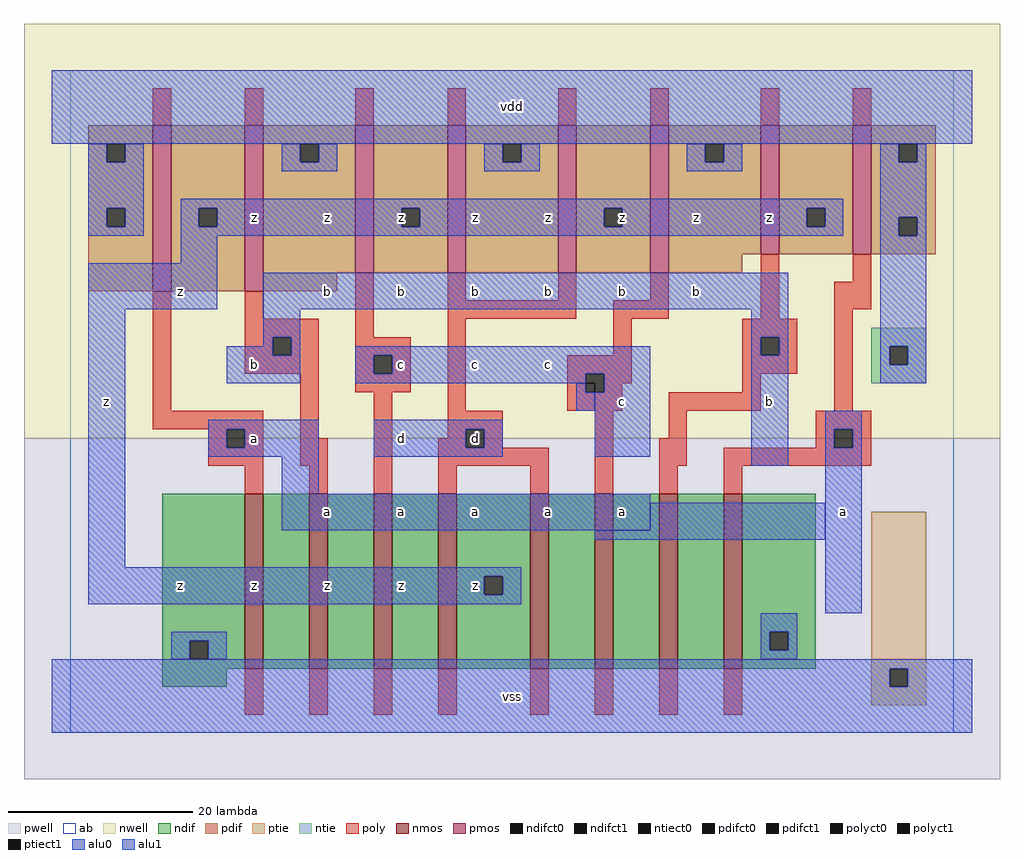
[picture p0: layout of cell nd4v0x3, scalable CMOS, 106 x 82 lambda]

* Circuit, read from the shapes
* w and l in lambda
.subckt nd4v0x3 a b c d vdd vss z
M1 n1 a vss vss nfet w=19 l=2
M2 n2 b n1 vss nfet w=19 l=2
M3 n3 c n2 vss nfet w=19 l=2
M4 z d n3 vss nfet w=19 l=2
M5 n4 d z vss nfet w=19 l=2
M6 n5 c n4 vss nfet w=19 l=2
M7 n6 b n5 vss nfet w=19 l=2
M8 vss a n6 vss nfet w=19 l=2
M9 z a vdd vdd pfet w=18 l=2
M10 vdd b z vdd pfet w=18 l=2
M11 z c vdd vdd pfet w=16 l=2 m=2
M12 vdd d z vdd pfet w=16 l=2 m=2
M13 z b vdd vdd pfet w=14 l=2
M14 vdd a z vdd pfet w=14 l=2
.ends

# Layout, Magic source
magic
tech scmos
<< ab >>
rect 0 0 96 72
<< nwell >>
rect -5 32 101 77
<< pwell >>
rect -5 -5 101 32
<< poly >>
rect 9 66 11 70
rect 19 66 21 70
rect 31 66 33 70
rect 41 66 43 70
rect 53 66 55 70
rect 63 66 65 70
rect 75 66 77 70
rect 85 66 87 70
rect 9 35 11 48
rect 19 45 21 48
rect 19 43 27 45
rect 19 41 22 43
rect 24 41 27 43
rect 19 39 27 41
rect 9 33 21 35
rect 15 31 17 33
rect 19 31 21 33
rect 15 29 21 31
rect 25 32 27 39
rect 31 43 33 50
rect 41 47 43 50
rect 53 47 55 50
rect 63 47 65 50
rect 41 45 55 47
rect 59 45 65 47
rect 75 45 77 52
rect 85 49 87 52
rect 83 46 87 49
rect 31 41 37 43
rect 31 39 33 41
rect 35 39 37 41
rect 31 37 37 39
rect 25 29 28 32
rect 19 26 21 29
rect 26 26 28 29
rect 33 26 35 37
rect 41 35 43 45
rect 59 41 61 45
rect 54 39 61 41
rect 54 37 56 39
rect 58 38 61 39
rect 73 43 79 45
rect 73 41 75 43
rect 77 41 79 43
rect 73 39 79 41
rect 58 37 60 38
rect 73 37 75 39
rect 54 35 60 37
rect 65 35 75 37
rect 83 35 85 46
rect 41 33 47 35
rect 41 32 43 33
rect 40 31 43 32
rect 45 31 47 33
rect 40 29 52 31
rect 40 26 42 29
rect 50 26 52 29
rect 57 26 59 35
rect 65 32 67 35
rect 64 29 67 32
rect 81 33 87 35
rect 81 31 83 33
rect 85 31 87 33
rect 71 29 87 31
rect 64 26 66 29
rect 71 26 73 29
rect 19 2 21 7
rect 26 2 28 7
rect 33 2 35 7
rect 40 2 42 7
rect 50 2 52 7
rect 57 2 59 7
rect 64 2 66 7
rect 71 2 73 7
<< ndif >>
rect 10 10 19 26
rect 10 8 13 10
rect 15 8 19 10
rect 10 7 19 8
rect 21 7 26 26
rect 28 7 33 26
rect 35 7 40 26
rect 42 17 50 26
rect 42 15 45 17
rect 47 15 50 17
rect 42 7 50 15
rect 52 7 57 26
rect 59 7 64 26
rect 66 7 71 26
rect 73 11 81 26
rect 73 9 76 11
rect 78 9 81 11
rect 73 7 81 9
rect 10 5 17 7
<< pdif >>
rect 2 64 9 66
rect 2 62 4 64
rect 6 62 9 64
rect 2 57 9 62
rect 2 55 4 57
rect 6 55 9 57
rect 2 48 9 55
rect 11 57 19 66
rect 11 55 14 57
rect 16 55 19 57
rect 11 48 19 55
rect 21 64 31 66
rect 21 62 25 64
rect 27 62 31 64
rect 21 50 31 62
rect 33 57 41 66
rect 33 55 36 57
rect 38 55 41 57
rect 33 50 41 55
rect 43 64 53 66
rect 43 62 47 64
rect 49 62 53 64
rect 43 50 53 62
rect 55 57 63 66
rect 55 55 58 57
rect 60 55 63 57
rect 55 50 63 55
rect 65 64 75 66
rect 65 62 69 64
rect 71 62 75 64
rect 65 52 75 62
rect 77 57 85 66
rect 77 55 80 57
rect 82 55 85 57
rect 77 52 85 55
rect 87 64 94 66
rect 87 62 90 64
rect 92 62 94 64
rect 87 56 94 62
rect 87 54 90 56
rect 92 54 94 56
rect 87 52 94 54
rect 65 50 73 52
rect 21 48 29 50
<< alu1 >>
rect -2 64 98 72
rect 12 57 84 58
rect 12 55 14 57
rect 16 55 36 57
rect 38 55 58 57
rect 60 55 80 57
rect 82 55 84 57
rect 12 54 84 55
rect 12 51 16 54
rect 2 46 16 51
rect 21 46 78 50
rect 2 18 6 46
rect 21 43 25 46
rect 21 42 22 43
rect 17 41 22 42
rect 24 41 25 43
rect 74 43 78 46
rect 17 38 25 41
rect 31 41 63 42
rect 31 39 33 41
rect 35 39 63 41
rect 31 38 56 39
rect 58 37 63 39
rect 15 33 27 34
rect 15 31 17 33
rect 19 31 27 33
rect 15 30 27 31
rect 33 33 47 34
rect 33 31 43 33
rect 45 31 47 33
rect 33 30 47 31
rect 57 30 63 37
rect 74 41 75 43
rect 77 41 78 43
rect 23 26 27 30
rect 74 29 78 41
rect 82 33 86 35
rect 82 31 83 33
rect 85 31 86 33
rect 23 22 63 26
rect 2 17 49 18
rect 2 15 45 17
rect 47 15 49 17
rect 2 14 49 15
rect 82 13 86 31
rect -2 7 98 8
rect -2 5 89 7
rect 91 5 98 7
rect -2 0 98 5
<< ptie >>
rect 87 7 93 24
rect 87 5 89 7
rect 91 5 93 7
rect 87 3 93 5
<< ntie >>
rect 87 42 93 44
rect 87 40 89 42
rect 91 40 93 42
rect 87 38 93 40
<< nmos >>
rect 19 7 21 26
rect 26 7 28 26
rect 33 7 35 26
rect 40 7 42 26
rect 50 7 52 26
rect 57 7 59 26
rect 64 7 66 26
rect 71 7 73 26
<< pmos >>
rect 9 48 11 66
rect 19 48 21 66
rect 31 50 33 66
rect 41 50 43 66
rect 53 50 55 66
rect 63 50 65 66
rect 75 52 77 66
rect 85 52 87 66
<< polyct0 >>
rect 56 37 57 38
<< polyct1 >>
rect 22 41 24 43
rect 17 31 19 33
rect 33 39 35 41
rect 56 38 58 39
rect 75 41 77 43
rect 57 37 58 38
rect 43 31 45 33
rect 83 31 85 33
<< ndifct0 >>
rect 13 8 15 10
rect 76 9 78 11
<< ndifct1 >>
rect 45 15 47 17
<< ntiect0 >>
rect 89 40 91 42
<< ptiect1 >>
rect 89 5 91 7
<< pdifct0 >>
rect 4 62 6 64
rect 4 55 6 57
rect 25 62 27 64
rect 47 62 49 64
rect 69 62 71 64
rect 90 62 92 64
rect 90 54 92 56
<< pdifct1 >>
rect 14 55 16 57
rect 36 55 38 57
rect 58 55 60 57
rect 80 55 82 57
<< alu0 >>
rect 2 62 4 64
rect 6 62 8 64
rect 2 57 8 62
rect 23 62 25 64
rect 27 62 29 64
rect 23 61 29 62
rect 45 62 47 64
rect 49 62 51 64
rect 45 61 51 62
rect 67 62 69 64
rect 71 62 73 64
rect 67 61 73 62
rect 88 62 90 64
rect 92 62 93 64
rect 2 55 4 57
rect 6 55 8 57
rect 2 54 8 55
rect 88 56 93 62
rect 88 54 90 56
rect 92 54 93 56
rect 55 37 56 38
rect 55 35 57 37
rect 88 42 93 54
rect 88 40 89 42
rect 91 40 93 42
rect 88 38 93 40
rect 63 22 82 25
rect 57 21 82 22
rect 75 11 79 13
rect 11 10 17 11
rect 11 8 13 10
rect 15 8 17 10
rect 75 9 76 11
rect 78 9 79 11
rect 75 8 79 9
<< labels >>
rlabel alu1 12 16 12 16 6 z
rlabel alu1 4 36 4 36 6 z
rlabel alu1 12 48 12 48 6 z
rlabel alu1 28 16 28 16 6 z
rlabel alu1 20 16 20 16 6 z
rlabel alu1 28 24 28 24 6 a
rlabel alu1 20 32 20 32 6 a
rlabel alu1 20 40 20 40 6 b
rlabel alu1 28 48 28 48 6 b
rlabel alu1 28 56 28 56 6 z
rlabel alu1 20 56 20 56 6 z
rlabel alu1 48 4 48 4 6 vss
rlabel alu1 44 16 44 16 6 z
rlabel alu1 36 16 36 16 6 z
rlabel alu1 36 24 36 24 6 a
rlabel alu1 44 24 44 24 6 a
rlabel alu1 52 24 52 24 6 a
rlabel polyct1 44 32 44 32 6 d
rlabel alu1 36 32 36 32 6 d
rlabel alu1 36 40 36 40 6 c
rlabel alu1 44 40 44 40 6 c
rlabel alu1 52 40 52 40 6 c
rlabel alu1 36 48 36 48 6 b
rlabel alu1 44 48 44 48 6 b
rlabel alu1 52 48 52 48 6 b
rlabel alu1 44 56 44 56 6 z
rlabel alu1 52 56 52 56 6 z
rlabel alu1 36 56 36 56 6 z
rlabel alu1 48 68 48 68 6 vdd
rlabel alu1 60 24 60 24 6 a
rlabel alu1 60 36 60 36 6 c
rlabel alu1 76 36 76 36 6 b
rlabel alu1 60 48 60 48 6 b
rlabel alu1 68 48 68 48 6 b
rlabel alu1 68 56 68 56 6 z
rlabel alu1 76 56 76 56 6 z
rlabel alu1 60 56 60 56 6 z
rlabel alu1 84 24 84 24 6 a
<< end >>
